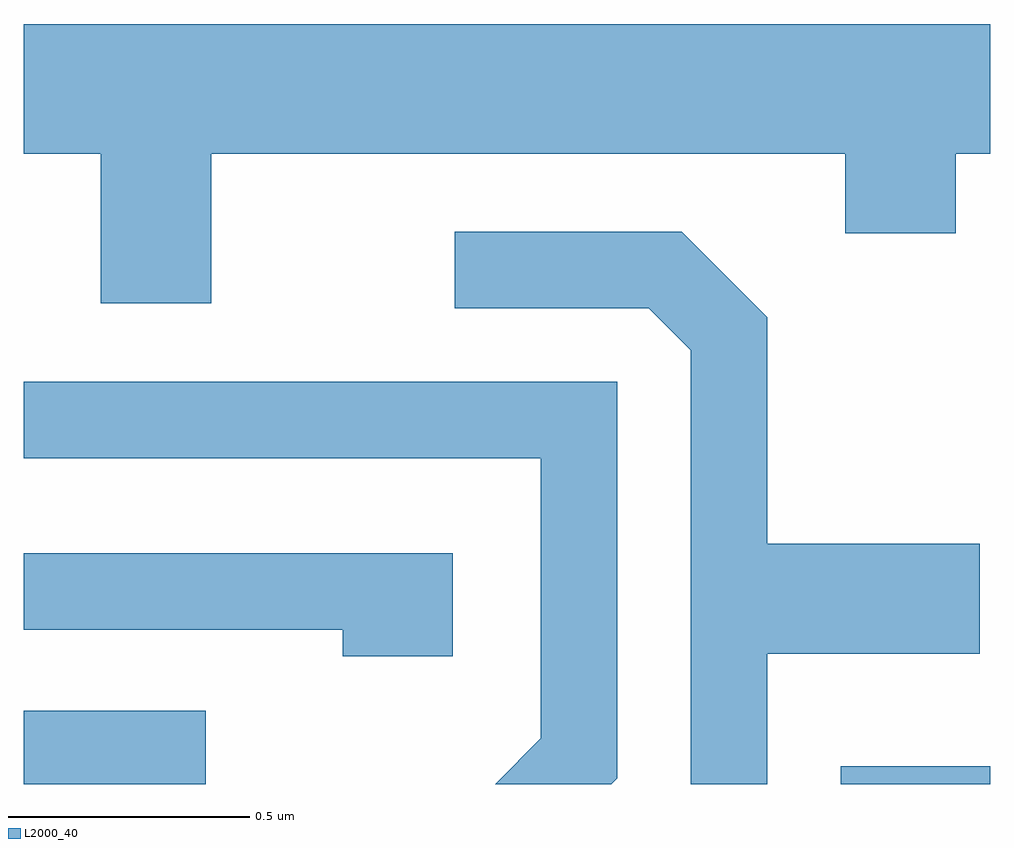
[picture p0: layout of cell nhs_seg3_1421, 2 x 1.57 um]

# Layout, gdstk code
import gdstk
lib = gdstk.Library(unit=1e-6, precision=1e-09)
def R(c, l, rs):  # rectangles x0, y0, x1, y1
    for r in rs: c.add(gdstk.rectangle(r[:2], r[2:], *l))
def P(c, l, *ps):  # polygons
    for p in ps: c.add(gdstk.Polygon(p, *l))
L2000_40 = (2000, 40)

nhs_seg3_1421 = lib.new_cell('nhs_seg3_1421')
R(nhs_seg3_1421, L2000_40, [(195.611,1166.892,195.988,1167.044), (197.301,1166.892,197.611,1166.929)])
P(nhs_seg3_1421, L2000_40, [(195.999,1168.196),(197.311,1168.196),(197.311,1168.031),(197.539,1168.031),(197.539,1168.196),(197.611,1168.196),(197.611,1168.464),(195.611,1168.464),(195.611,1168.196),(195.771,1168.196),(195.771,1167.886),(195.999,1167.886)],
  [(197.149,1167.161),(197.589,1167.161),(197.589,1167.389),(197.149,1167.389),(197.149,1167.857),(196.972,1168.034),(196.503,1168.034),(196.503,1167.876),(196.904,1167.876),(196.991,1167.789),(196.991,1166.892),(197.149,1166.892)],
  [(196.839,1166.904),(196.839,1167.724),(195.611,1167.724),(195.611,1167.566),(196.681,1167.566),(196.681,1166.987),(196.587,1166.892),(196.827,1166.892)],
  [(196.499,1167.369),(195.611,1167.369),(195.611,1167.211),(196.271,1167.211),(196.271,1167.156),(196.499,1167.156)])

lib.write_gds('nhs_seg3_1421.gds')
